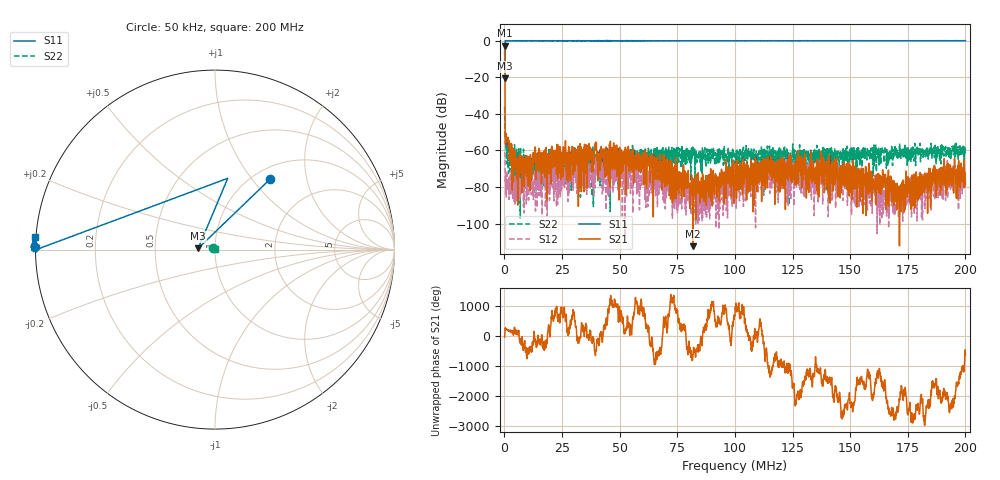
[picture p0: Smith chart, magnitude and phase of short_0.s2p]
! 26-Feb-26 2:13:26 PM
! E:\VNA_MEASUREMENTS\CAL_ENDS\SHORT_0.S2P
! CHANNEL.1
! TR.MEASUREMENT
! CORRECTED.DATA
# GHZ S RI R 50.0
! FREQ.GHZ  S11RE  S11IM  S21RE  S21IM  S12RE  S12IM  S22RE  S22IM
!; PortSelection: Port_12
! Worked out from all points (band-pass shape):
!   2000 points, 50 kHz to 200 MHz, reference 50 ohm
!   highest |S21| = -2.61 dB at 50 kHz (marker M1); lowest = -112.4 dB at 81.77 MHz (marker M2)
!   |S21| within 3 dB of the highest: start of sweep to 110.1 kHz
!   lowest |S11| = -20.6 dB at 150 kHz (marker M3), VSWR 1.21, Z = 41.5 + j0.639 ohm
!   |S11| at or under -10 dB: 76.96 kHz to 233.4 kHz (156.4 kHz wide, 101 % of centre)
!   |S22| runs from -97.2 to -36.1 dB; largest |S21 - S12| = 0.74
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5e-05  0.3052 0.391  0.6185 -0.4068  2.17e-05 -0.000921  -0.0139 0.00714
0.000150025  -0.093 0.00763  0.1989 0.3663  -0.000475 0.000764  0.0045 -0.00374
0.001350325  -0.9973 0.00838  -0.00172 -0.000444  -7.43e-05 4.61e-05  0.00045 0.00129
0.004851201  -0.9886 -0.00338  -0.000375 0.000282  -0.000135 0.000147  0.000497 0.000716
0.01075268  -0.9909 0.00367  -0.000124 -0.000203  -3.76e-05 -7.66e-05  -0.000168 0.000188
0.02235558  -1.006 0.011  -0.000248 0.000358  -0.000351 -6.32e-05  0.000446 -2.47e-05
0.03345835  -1.003 0.018  3.84e-05 0.000725  0.000188 0.000144  0.000563 0.000212
0.03615903  -1.013 0.012  0.000439 -7e-06  -0.00014 -3.59e-05  0.00016 0.000381
0.04046011  -1.017 0.00158  -0.000345 0.000123  -0.000334 -1.02e-05  0.000476 0.000206
0.04306075  -1.012 0.0215  0.000609 -0.00018  -0.000132 0.000211  0.00037 -0.000119
0.04686171  -1.006 0.0186  0.000293 -5.1e-06  -4.28e-05 0.000247  0.00044 0.000193
0.05046261  -0.9978 0.0208  0.000455 0.000116  -5.29e-05 -0.000236  0.000248 0.00068
0.05296323  -0.9929 0.0197  0.00015 -0.000446  5.62e-05 4e-07  0.000808 0.000465
0.06676668  -1.005 0.0181  -0.000457 0.000169  -7.32e-05 -0.000103  0.000269 0.000263
0.08177044  -1 0.0262  0 2.4e-06  -5.6e-06 3.51e-05  0.000812 0.00091
0.100075  -1.004 0.0365  1.21e-05 0.000222  -0.000102 -0.00014  0.000234 0.000611
0.1277819  -1.009 0.0421  -3.73e-05 0.000692  0.000103 8.52e-05  0.00059 0.000429
0.1313828  -0.9981 0.0477  0.000292 -8.68e-05  8.5e-06 0.000213  0.000612 0.000183
0.1333833  -1.003 0.0462  3.95e-05 0.000123  0.000115 0.00018  0.000292 0.000559
0.1666917  -1.008 0.0582  1.6e-05 2.49e-05  -8e-07 7.5e-06  0.000571 0.00067
0.196099  -1.007 0.0721  -9e-06 -4.86e-05  3.07e-05 0.000243  0.000696 0.0004
0.2  -1.005 0.0725  -8.1e-06 0.00012  -0.000147 -6.55e-05  0.000605 0.00114
